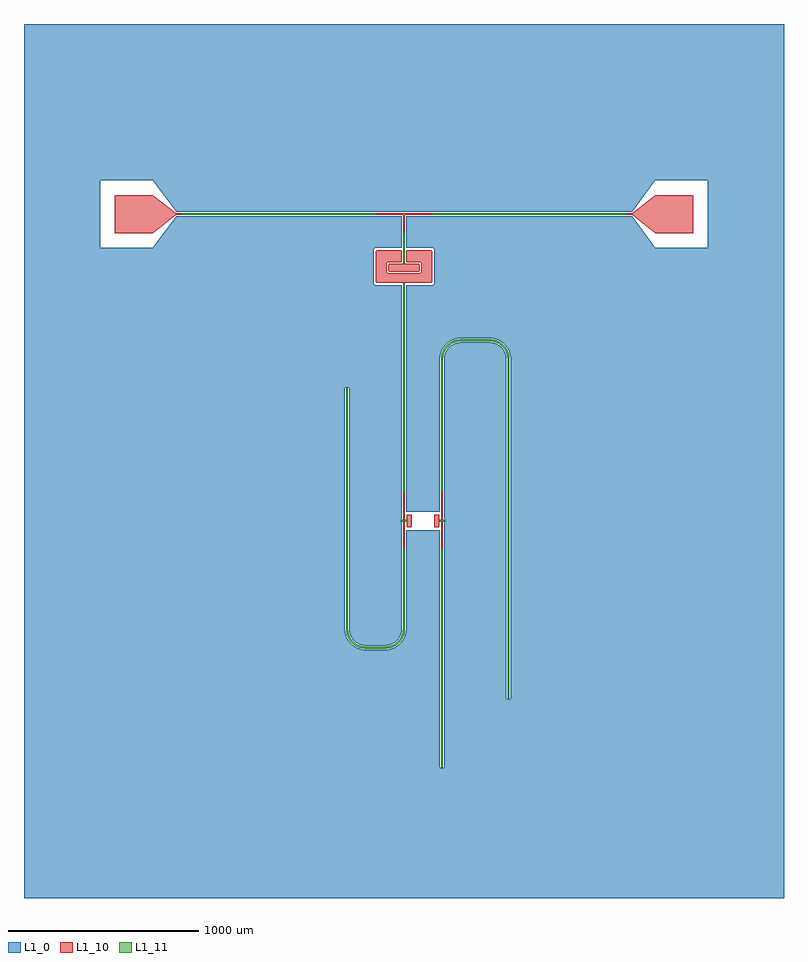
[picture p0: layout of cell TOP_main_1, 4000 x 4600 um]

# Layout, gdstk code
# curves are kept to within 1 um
import gdstk
lib = gdstk.Library(unit=1e-6, precision=1e-09)
def R(c, l, rs):  # rectangles x0, y0, x1, y1
    for r in rs: c.add(gdstk.rectangle(r[:2], r[2:], *l))
def P(c, l, *ps):  # polygons
    for p in ps: c.add(gdstk.Polygon(p, *l))
L1_0 = (1, 0)
L1_10 = (1, 10)
L1_11 = (1, 11)

ground_main_1 = lib.new_cell('ground_main_1')
P(ground_main_1, L1_0, [(2000,-2211.956),(561,-2211.956),(561,-2552.34),(539,-2552.34),(539,-2211.956),(211,-2211.956),(211,-2915),(189,-2915),(189,-2211.956),(7.181,-2211.956),(0.833,-2229.438),(-7.954,-2244.98),(-19.14,-2258.897),(-32.431,-2270.82),(-47.475,-2280.436),(-63.877,-2287.492),(-81.204,-2291.801),(-99,-2293.25),(-206.955,-2293.088),(-224.647,-2290.678),(-241.715,-2285.437),(-262.731,-2274.296),(-282.879,-2256.706),(-298.186,-2234.775),(-307.181,-2211.956),(-2000,-2211.956),(-2000,-3600),(2000,-3600)],
  [(-96.342,-2271.21),(-83.138,-2269.808),(-70.294,-2266.436),(-58.104,-2261.17),(-46.846,-2254.129),(-36.775,-2245.475),(-28.12,-2235.404),(-21.08,-2224.145),(-15.814,-2211.956),(-284.186,-2211.956),(-274.899,-2231.029),(-261.318,-2247.326),(-246.526,-2258.559),(-227.18,-2267.265),(-203.658,-2271.21)],
  [(-14.985,-2209.43),(-12.002,-2196.491),(-11,-2183.25),(-11,-1626),(-15,-1626),(-15,-1604),(-11,-1604),(-11,-687.351),(-2000,-687.351),(-2000,-2211.956),(-307.181,-2211.956),(-311,-2183.25),(-311,-915),(-289,-915),(-289,-2183.25),(-287.04,-2201.719),(-284.186,-2211.956),(-15.814,-2211.956)],
  [(189,-764),(190.971,-743.271),(196.813,-723.285),(206.316,-704.758),(220.116,-687.351),(11,-687.351),(11,-1566.5),(189,-1566.5)],
  [(539,-764),(535.768,-740.369),(526.309,-718.474),(511.318,-699.924),(494.23,-687.351),(255.77,-687.351),(240.645,-698.131),(228.12,-711.846),(218.753,-727.884),(212.96,-745.53),(211,-764),(211,-1604),(215,-1604),(215,-1626),(211,-1626),(211,-2211.956),(539,-2211.956)],
  [(2000,-687.351),(529.884,-687.351),(542.046,-702.269),(552.047,-720.533),(558.428,-740.353),(560.96,-761.021),(561,-2211.956),(2000,-2211.956)],
  [(189,-1663.5),(11,-1663.5),(11,-2183.25),(7.181,-2211.956),(189,-2211.956)],
  [(-1322,176.5),(-1200,11),(1200,11),(1322,176.5),(1598.5,176.5),(1598.5,-176.5),(1322,-176.5),(1200,-11),(11,-11),(11,-178),(148.676,-178.058),(156.776,-182.387),(159.5,-190),(159.5,-363),(156.776,-370.613),(152.092,-374.087),(147.5,-375),(11,-375),(11,-687.351),(220.116,-687.351),(237.269,-672.954),(255.533,-662.953),(275.353,-656.572),(299,-654),(465.85,-655.007),(483.287,-658.845),(499.874,-665.454),(515.173,-674.659),(529.884,-687.351),(2000,-687.351),(2000,1000),(-2000,1000),(-2000,-687.351),(-11,-687.351),(-11,-375),(-148.676,-374.942),(-156.776,-370.613),(-159.5,-363),(-158.587,-185.408),(-154.167,-180.022),(-148.676,-178.058),(-11,-178),(-11,-11),(-1200,-11),(-1322,-176.5),(-1598.5,-176.5),(-1598.5,176.5)],
  [(491.896,-686.08),(474.631,-679.232),(456.313,-676.161),(299,-676),(275.369,-679.232),(255.77,-687.351),(494.23,-687.351)])

top_main_1 = lib.new_cell('TOP_main_1')
P(top_main_1, L1_10, [(-1200,5),(-1322,100),(-1522,100),(-1522,-100),(-1322,-100),(-1200,-5),(-1170,-5),(-1170,5),(-1200,5)],
  [(1200,-5),(1322,-100),(1522,-100),(1522,100),(1322,100),(1200,5),(1170,5),(1170,-5),(1200,-5)],
  [(-5,-100),(-5,-5),(-150,-5),(-150,5),(150,5),(150,-5),(5,-5),(5,-100),(-5,-100)],
  [(82.5,-295),(80.157,-300.657),(74.5,-303),(-76.061,-302.846),(-80.157,-300.657),(-82.346,-296.561),(-82.346,-268.439),(-79.575,-263.816),(-74.5,-262),(76.061,-262.154),(80.157,-264.343),(82.346,-268.439)],
  [(11,-311),(-83.284,-310.961),(-88.157,-308.657),(-90.346,-304.561),(-90.461,-261.216),(-86.945,-255.348),(-82.5,-254),(-18.412,-253.971),(-12.465,-250.602),(-11.005,-246.098),(-11.005,-197.902),(-14.083,-191.699),(-19.098,-190),(-139.402,-190),(-145.801,-193.083),(-147.5,-198.098),(-147.5,-354.902),(-144.417,-361.301),(-139.402,-363),(11,-363)],
  [(139.598,-362.995),(145.011,-360.789),(147.495,-355.098),(147.5,-198.098),(146.035,-193.398),(139.402,-190),(19.098,-190),(14.398,-191.465),(11.005,-197.902),(11.005,-246.098),(12.465,-250.602),(18.412,-253.971),(82.5,-254),(86.945,-255.348),(90.461,-261.216),(90.5,-303),(88.157,-308.657),(83.284,-310.961),(11,-311),(11,-363)],
  [(-15,-1610),(-5,-1610),(-5,-1465),(5,-1465),(5,-1765),(-5,-1765),(-5,-1620),(-15,-1620),(-15,-1610)],
  [(205,-1465),(205,-1610),(215,-1610),(215,-1620),(205,-1620),(205,-1765),(195,-1765),(195,-1465),(205,-1465)],
  [(17,-1647.5),(15,-1645.5),(15.086,-1583.919),(16.804,-1582.51),(38.581,-1582.586),(40,-1584.5),(39.914,-1646.081),(38.196,-1647.49)],
  [(162,-1647.5),(160,-1645.5),(160.086,-1583.919),(161.804,-1582.51),(183.581,-1582.586),(185,-1584.5),(184.914,-1646.081),(183.196,-1647.49)])
R(top_main_1, L1_11, [(195,-2915,205,-1765), (-15,-1620,5,-1610), (5,-1620,15.001,-1610), (184.999,-1620,195,-1610), (195,-1620,215,-1610), (-5,-1465,5,-415), (-5,-415,5,-362.999), (-5,-262.001,5,-150), (-5,-150,5,-100), (-1170,-5,-150,5), (150,-5,1170,5)])
P(top_main_1, L1_11, [(-96.134,-2287.21),(-76.257,-2284.733),(-54.615,-2277.303),(-37.408,-2267.049),(-20.636,-2251.623),(-34.493,-2251.623),(-49.652,-2263.255),(-69.433,-2272.479),(-82.677,-2275.822),(-99,-2277.25),(-214.624,-2276.257),(-227.96,-2273.301),(-240.726,-2268.443),(-252.654,-2261.786),(-265.507,-2251.623),(-279.364,-2251.623),(-267.115,-2263.529),(-253,-2273.316),(-237.466,-2280.647),(-220.938,-2285.321),(-203.866,-2287.21)],
  [(-267.468,-2249.718),(-279.536,-2234.904),(-287.312,-2220.481),(-293.058,-2202.258),(-294.96,-2185.984),(-295,-915),(-305,-915),(-304.961,-2186.115),(-301.076,-2211.549),(-291.067,-2235.25),(-279.364,-2251.623),(-265.507,-2251.623)],
  [(-20.573,-2251.552),(-10.4,-2237.712),(-2.645,-2222.386),(2.483,-2205.993),(4.842,-2188.979),(5,-1765),(-5,-1765),(-5.358,-2191.442),(-8.203,-2207.579),(-13.807,-2222.976),(-23.6,-2239.383),(-34.493,-2251.623)],
  [(205,-764),(206.942,-744.992),(212.688,-726.769),(222,-710.084),(234.493,-695.627),(220.636,-695.627),(210.4,-709.538),(199.742,-732.954),(195.158,-758.271),(195,-1465),(205,-1465)],
  [(555,-764),(551.818,-738.47),(541.067,-712),(529.364,-695.627),(515.507,-695.627),(526.4,-707.867),(536.193,-724.274),(542.466,-742.322),(544.96,-761.266),(545,-2552.34),(555,-2552.34)],
  [(527.515,-693.563),(514.878,-681.929),(500.499,-672.535),(484.769,-665.635),(465.285,-660.986),(299,-660),(276.257,-662.517),(257.224,-668.76),(237.408,-680.2),(220.636,-695.627),(234.493,-695.627),(249.652,-683.995),(269.433,-674.771),(285.376,-670.992),(299,-670),(461.913,-670.636),(477.96,-673.949),(490.726,-678.807),(502.654,-685.464),(515.507,-695.627),(529.364,-695.627)])
top_main_1.add(gdstk.Reference(ground_main_1, (0,0)))

lib.write_gds('TOP_main_1.gds')
